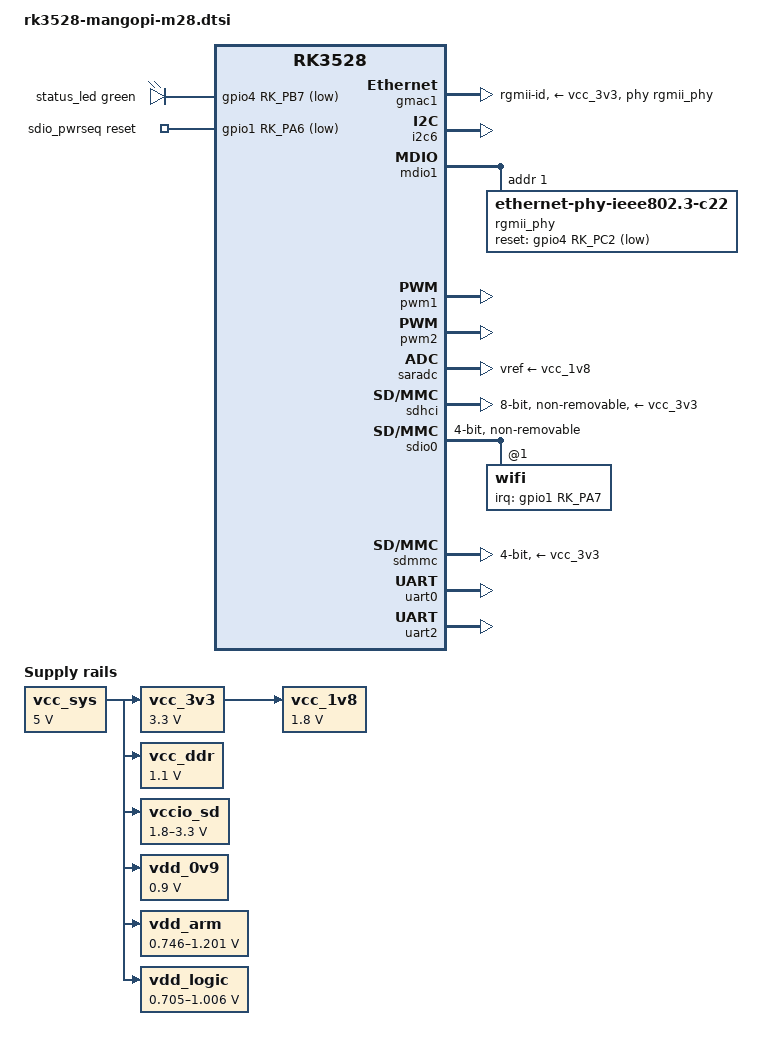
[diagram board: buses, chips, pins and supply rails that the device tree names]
// SPDX-License-Identifier: GPL-2.0-or-later OR MIT

/dts-v1/;
#include <dt-bindings/input/input.h>
#include <dt-bindings/leds/common.h>
#include <dt-bindings/pwm/pwm.h>

#include "rk3528.dtsi"

/ {
	aliases {
		ethernet0 = &gmac1;
		mmc0 = &sdhci;
		mmc1 = &sdmmc;
		mmc2 = &sdio0;
		serial0 = &uart0;
	};

	chosen {
		stdout-path = "serial0:1500000n8";
	};

	gpio_leds: gpio-leds {
		compatible = "gpio-leds";

		status_led: led-1 {
			color = <LED_COLOR_ID_GREEN>;
			function = LED_FUNCTION_STATUS;
			gpios = <&gpio4 RK_PB7 GPIO_ACTIVE_LOW>;
		};
	};

	sdio_pwrseq: sdio-pwrseq {
		compatible = "mmc-pwrseq-simple";
		pinctrl-names = "default";
		pinctrl-0 = <&wifi_reg_on_h>;
		post-power-on-delay-ms = <100>;
		power-off-delay-us = <5000000>;
		reset-gpios = <&gpio1 RK_PA6 GPIO_ACTIVE_LOW>;
	};

	vcc_1v8: regulator-1v8-vcc {
		compatible = "regulator-fixed";
		regulator-name = "vcc_1v8";
		regulator-always-on;
		regulator-boot-on;
		regulator-min-microvolt = <1800000>;
		regulator-max-microvolt = <1800000>;
		vin-supply = <&vcc_3v3>;
	};

	vcc_3v3: regulator-3v3-vcc {
		compatible = "regulator-fixed";
		regulator-name = "vcc_3v3";
		regulator-always-on;
		regulator-boot-on;
		regulator-min-microvolt = <3300000>;
		regulator-max-microvolt = <3300000>;
		vin-supply = <&vcc_sys>;
	};

	vcc_ddr: regulator-1v1-vcc-ddr {
		compatible = "regulator-fixed";
		regulator-name = "vcc_ddr";
		regulator-always-on;
		regulator-boot-on;
		regulator-min-microvolt = <1100000>;
		regulator-max-microvolt = <1100000>;
		vin-supply = <&vcc_sys>;
	};

	vcc_sys: regulator-vcc-sys {
		compatible = "regulator-fixed";
		regulator-name = "vcc_sys";
		regulator-always-on;
		regulator-boot-on;
		regulator-min-microvolt = <5000000>;
		regulator-max-microvolt = <5000000>;
	};

	vccio_sd: regulator-vccio-sd {
		compatible = "regulator-gpio";
		gpios = <&gpio4 RK_PB6 GPIO_ACTIVE_HIGH>;
		pinctrl-names = "default";
		pinctrl-0 = <&sdmmc_vol_ctrl_h>;
		regulator-name = "vccio_sd";
		regulator-min-microvolt = <1800000>;
		regulator-max-microvolt = <3300000>;
		states = <1800000 0x0>, <3300000 0x1>;
		vin-supply = <&vcc_sys>;
	};

	vdd_0v9: regulator-0v9-vdd {
		compatible = "regulator-fixed";
		regulator-name = "vdd_0v9";
		regulator-always-on;
		regulator-boot-on;
		regulator-min-microvolt = <900000>;
		regulator-max-microvolt = <900000>;
		vin-supply = <&vcc_sys>;
	};

	vdd_arm: regulator-vdd-arm {
		compatible = "pwm-regulator";
		pwms = <&pwm1 0 5000 PWM_POLARITY_INVERTED>;
		pwm-supply = <&vcc_sys>;
		regulator-name = "vdd_arm";
		regulator-always-on;
		regulator-boot-on;
		regulator-min-microvolt = <746000>;
		regulator-max-microvolt = <1201000>;
		regulator-settling-time-up-us = <250>;
	};

	vdd_logic: regulator-vdd-logic {
		compatible = "pwm-regulator";
		pwms = <&pwm2 0 5000 PWM_POLARITY_INVERTED>;
		pwm-supply = <&vcc_sys>;
		regulator-name = "vdd_logic";
		regulator-always-on;
		regulator-boot-on;
		regulator-min-microvolt = <705000>;
		regulator-max-microvolt = <1006000>;
		regulator-settling-time-up-us = <250>;
	};
};

&cpu0 {
	cpu-supply = <&vdd_arm>;
};

&cpu1 {
	cpu-supply = <&vdd_arm>;
};

&cpu2 {
	cpu-supply = <&vdd_arm>;
};

&cpu3 {
	cpu-supply = <&vdd_arm>;
};

&gmac1 {
	clock_in_out = "output";
	phy-handle = <&rgmii_phy>;
	phy-mode = "rgmii-id";
	phy-supply = <&vcc_3v3>;
	pinctrl-names = "default";
	pinctrl-0 = <&rgmii_miim>, <&rgmii_tx_bus2>, <&rgmii_rx_bus2>,
		    <&rgmii_rgmii_clk>, <&rgmii_rgmii_bus>;
	status = "okay";
};

&i2c6 {
	status = "okay";
};

&mdio1 {
	rgmii_phy: ethernet-phy@1 {
		compatible = "ethernet-phy-ieee802.3-c22";
		reg = <1>;
		pinctrl-names = "default";
		pinctrl-0 = <&gmac1_rstn_l>;
		reset-assert-us = <20000>;
		reset-deassert-us = <100000>;
		reset-gpios = <&gpio4 RK_PC2 GPIO_ACTIVE_LOW>;

		leds {
			#address-cells = <1>;
			#size-cells = <0>;

			rgmii_led1: led@1 {
				reg = <1>;
				function = LED_FUNCTION_LAN;
				default-state = "keep";
			};

			rgmii_led2: led@2 {
				reg = <2>;
				function = LED_FUNCTION_LAN;
				default-state = "keep";
			};
		};
	};
};

&pinctrl {
	bt {
		bt_reg_on_h: bt-reg-on-h {
			rockchip,pins = <1 RK_PC1 RK_FUNC_GPIO &pcfg_pull_up>;
		};

		bt_wake_host_h: bt-wake-host-h {
			rockchip,pins = <1 RK_PC2 RK_FUNC_GPIO &pcfg_pull_down>;
		};

		host_wake_bt_h: host-wake-bt-h {
			rockchip,pins = <1 RK_PB4 RK_FUNC_GPIO &pcfg_pull_down>;
		};
	};

	gmac {
		gmac1_rstn_l: gmac1-rstn-l {
			rockchip,pins = <4 RK_PC2 RK_FUNC_GPIO &pcfg_pull_down>;
		};
	};

	gpio-leds {
		work_led_pin: work-led-pin {
			rockchip,pins = <4 RK_PB7 RK_FUNC_GPIO &pcfg_pull_none>;
		};
	};

	sdmmc {
		sdmmc_vol_ctrl_h: sdmmc-vol-ctrl-h {
			rockchip,pins = <4 RK_PB6 RK_FUNC_GPIO &pcfg_pull_none>;
		};
	};

	wifi {
		wifi_reg_on_h: wifi-reg-on-h {
			rockchip,pins = <1 RK_PA6 RK_FUNC_GPIO &pcfg_pull_down>;
		};

		wifi_wake_host_h: wifi-wake-host-h {
			rockchip,pins = <1 RK_PA7 RK_FUNC_GPIO &pcfg_pull_down>;
		};
	};
};

&pwm1 {
	pinctrl-names = "default";
	pinctrl-0 = <&pwm1m0_pins>;
	status = "okay";
};

&pwm2 {
	pinctrl-names = "default";
	pinctrl-0 = <&pwm2m0_pins>;
	status = "okay";
};

&saradc {
	vref-supply = <&vcc_1v8>;
	status = "okay";
};

&sdhci {
	bus-width = <8>;
	cap-mmc-highspeed;
	mmc-hs200-1_8v;
	no-sd;
	no-sdio;
	non-removable;
	vmmc-supply = <&vcc_3v3>;
	vqmmc-supply = <&vcc_1v8>;
	status = "okay";
};

&sdio0 {
	#address-cells = <1>;
	#size-cells = <0>;
	bus-width = <4>;
	cap-sd-highspeed;
	cap-sdio-irq;
	keep-power-in-suspend;
	mmc-pwrseq = <&sdio_pwrseq>;
	non-removable;
	sd-uhs-sdr104;
	status = "okay";

	wifi@1 {
		reg = <1>;
		interrupt-parent = <&gpio1>;
		interrupts = <RK_PA7 IRQ_TYPE_LEVEL_HIGH>;
		interrupt-names = "host-wake";
		pinctrl-names = "default";
		pinctrl-0 = <&wifi_wake_host_h>;
	};
};

&sdmmc {
	bus-width = <4>;
	cap-mmc-highspeed;
	cap-sd-highspeed;
	disable-wp;
	sd-uhs-sdr104;
	vmmc-supply = <&vcc_3v3>;
	vqmmc-supply = <&vccio_sd>;
	status = "okay";
};

&uart0 {
	pinctrl-names = "default";
	pinctrl-0 = <&uart0m0_xfer>;
	status = "okay";
};

&uart2 {
	pinctrl-names = "default";
	pinctrl-0 = <&uart2m1_xfer &uart2m1_ctsn &uart2m1_rtsn>;
	uart-has-rtscts;
	status = "okay";
};
